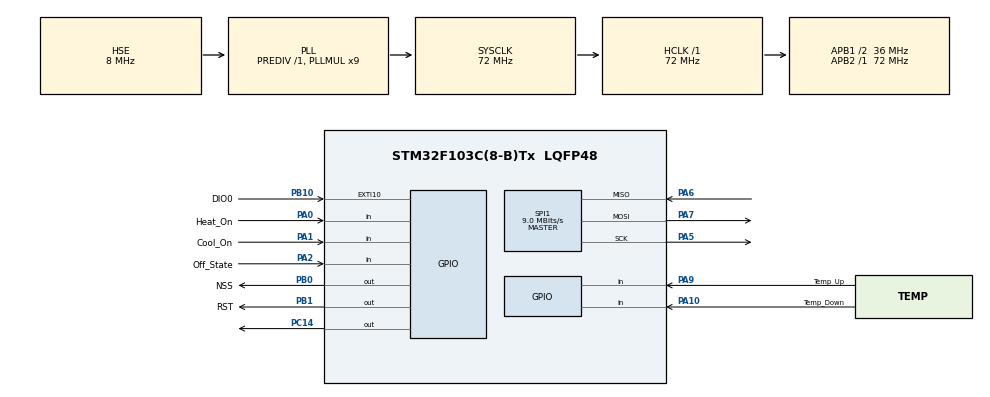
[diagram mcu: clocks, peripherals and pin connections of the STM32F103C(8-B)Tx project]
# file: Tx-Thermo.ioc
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Mcu.Family=STM32F1
Mcu.Name=STM32F103C(8-B)Tx
Mcu.Package=LQFP48
NVIC.EXTI15_10_IRQn=true\:0\:0\:false\:true\:true\:2\:true\:true\:true
NVIC.PriorityGroup=NVIC_PRIORITYGROUP_4
NVIC.SPI1_IRQn=true\:0\:0\:false\:true\:true\:1\:true\:true\:true
PA0-WKUP.GPIO_Label=Heat_On
PA0-WKUP.GPIO_PuPd=GPIO_PULLUP
PA0-WKUP.Signal=GPIO_Input
PA1.GPIO_Label=Cool_On
PA1.GPIO_PuPd=GPIO_PULLUP
PA1.Signal=GPIO_Input
PA10.GPIO_Label=Temp_Down
PA10.GPIO_PuPd=GPIO_PULLUP
PA10.Signal=GPIO_Input
PA13.Mode=Serial_Wire
PA13.Signal=SYS_JTMS-SWDIO
PA14.Mode=Serial_Wire
PA14.Signal=SYS_JTCK-SWCLK
PA2.GPIO_Label=Off_State
PA2.GPIO_PuPd=GPIO_PULLUP
PA2.Signal=GPIO_Input
PA5.Mode=Full_Duplex_Master
PA5.Signal=SPI1_SCK
PA6.Mode=Full_Duplex_Master
PA6.Signal=SPI1_MISO
PA7.Mode=Full_Duplex_Master
PA7.Signal=SPI1_MOSI
PA9.GPIO_Label=Temp_Up
PA9.GPIO_PuPd=GPIO_PULLUP
PA9.Signal=GPIO_Input
PB0.GPIO_Label=NSS
PB0.PinState=GPIO_PIN_SET
PB0.Signal=GPIO_Output
PB1.GPIO_Label=RST
PB1.PinState=GPIO_PIN_SET
PB1.Signal=GPIO_Output
PB10.GPIO_Label=DIO0
PB10.GPIO_PuPd=GPIO_PULLDOWN
PB10.Signal=GPXTI10
PC14-OSC32_IN.Signal=GPIO_Output
PD0-OSC_IN.Mode=HSE-External-Oscillator
PD0-OSC_IN.Signal=RCC_OSC_IN
PD1-OSC_OUT.Mode=HSE-External-Oscillator
PD1-OSC_OUT.Signal=RCC_OSC_OUT
ProjectManager.HeapSize=0x200
ProjectManager.StackSize=0x400
ProjectManager.TargetToolchain=STM32CubeIDE
RCC.AHBFreq_Value=72000000
RCC.APB1CLKDivider=RCC_HCLK_DIV2
RCC.APB1Freq_Value=36000000
RCC.APB1TimFreq_Value=72000000
RCC.APB2Freq_Value=72000000
RCC.APB2TimFreq_Value=72000000
RCC.HCLKFreq_Value=72000000
RCC.PLLMUL=RCC_PLL_MUL9
RCC.PLLSourceVirtual=RCC_PLLSOURCE_HSE
RCC.PWREXT_OverDrive=PWREXT_OverDrive_DESACTIVATED
RCC.PWR_Regulator_Voltage_Scale=PWR_REGULATOR_VOLTAGE_SCALE3
RCC.RCC_MCOSource=RCC_MCO1SOURCE_PLLCLK
RCC.RCC_TIM_PRescaler_Selection=RCC_TIMPRES_DESACTIVATED
RCC.RTCClockSelection=RCC_RTCCLKSOURCE_LSE
RCC.SYSCLKFreq_VALUE=72000000
RCC.SYSCLKSource=RCC_SYSCLKSOURCE_PLLCLK
RCC.USBFreq_Value=48000000
RCC.USBPrescaler=RCC_USBCLKSOURCE_PLL_DIV1_5
SPI1.BaudRatePrescaler=SPI_BAUDRATEPRESCALER_8
SPI1.CalculateBaudRate=9.0 MBits/s
SPI1.Direction=SPI_DIRECTION_2LINES
SPI1.Mode=SPI_MODE_MASTER
SPI1.VirtualType=VM_MASTER
board=custom

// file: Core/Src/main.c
/* USER CODE BEGIN Header */
/**
  ******************************************************************************
  * @file           : main.c
  * @brief          : Main program body
  ******************************************************************************
  * @attention
  *
  * Copyright (c) 2025 STMicroelectronics.
  * All rights reserved.
  *
  * This software is licensed under terms that can be found in the LICENSE file
  * in the root directory of this software component.
  * If no LICENSE file comes with this software, it is provided AS-IS.
  *
  ******************************************************************************
  */
/* USER CODE END Header */
#include "main.h"
#include "spi.h"
#include "gpio.h"

/* USER CODE BEGIN Includes */
/*--------------------TRANSMITTER--------------------*/
#include <string.h>
#include <stdio.h>
#include "stm32f1xx.h"
#include "LoRa.h"
#include <stdlib.h>
#include <LiquidCrystal.h>
#include "Tx-Commands.h"
/* USER CODE END Includes */

/* USER CODE BEGIN PD */
#define UNAVAILABLE -1
#define FREE 0
#define BUSY 1

#define HEAT 0
#define AC 1
#define OFF -1

#define TEMP_PORT GPIOA

#define MAX_BUTTONS 5
/* USER CODE END PD */

/* USER CODE BEGIN PV */
LoRa myLoRa;
uint16_t LoRa_stat = 0;
uint8_t RxBuffer[16];
size_t air_mode = OFF;
uint8_t temperature = 0;
uint8_t temp_setpt = 0;
volatile uint8_t rx_ready = 0;
/* USER CODE END PV */

void SystemClock_Config(void);
static void MX_NVIC_Init(void);

int main(void)
{

  /* MCU Configuration--------------------------------------------------------*/

  /* Reset of all peripherals, Initializes the Flash interface and the Systick. */
  HAL_Init();

  /* Configure the system clock */
  SystemClock_Config();

  /* Initialize all configured peripherals */
  MX_GPIO_Init();
  MX_SPI1_Init();

  /* Initialize interrupts */
  MX_NVIC_Init();
  /* USER CODE BEGIN 2 */

  myLoRa = newLoRa();
  myLoRa.hSPIx = &hspi1;
  myLoRa.CS_port = GPIOB;
  myLoRa.CS_pin = GPIO_PIN_0;
  myLoRa.reset_port = GPIOB;
  myLoRa.reset_pin = GPIO_PIN_1;
  myLoRa.DIO0_port = GPIOB;
  myLoRa.DIO0_pin = GPIO_PIN_10;

  if (LoRa_init(&myLoRa) != LORA_OK) {
	  print("LoRa Failed!");
  }
  LoRa_stat = 1;

  LiquidCrystal(GPIOB, LCD_RS_Pin, 255, LCD_E_Pin,
		  LCD_D7_Pin, LCD_D6_Pin, LCD_D5_Pin, LCD_D4_Pin);
  Buttons button[] = {
		  {FREE, Get_TempUpButtonState, TransmitTEMPUPCommand},
		  {FREE, Get_TempDownButtonState, TransmitTEMPDOWNCommand},
		  {FREE, Get_HeatButtonState, TransmitHEATCommand},
		  {FREE, Get_ACButtonState, TransmitACCommand},
		  {FREE, Get_OffButtonState, TransmitOFFCommand}
  };
  air_mode = OFF;
  char* command;
  LCD_StrInit();
  LoRa_startReceiving(&myLoRa);

  /* USER CODE END 2 */

  /* Infinite loop */
  while (1)
  {

    /* USER CODE BEGIN 3 */
	  size_t i;
	  if (rx_ready) {
		  command = (char*) RxBuffer;
		  rx_ready = 0;
		  if (atoi(command) != 0) {
			  uint16_t tmp = atoi(command);
			  /* We receive 16 bits, upper 8 bits hold temp, lower 8 bits hold setpoint*/
			  temp_setpt = tmp & 0xFF;
			  temperature = (tmp >> 8) & 0xFF;
			  LCD_UpdateSetpt();
			  LCD_UpdateTemp();
		  }
	  }

	  for (i = 0; i < MAX_BUTTONS; i++) {
		  if (button[i].GetPinState() == FREE && button[i].state == FREE) {
			  button[i].state = BUSY;
			  if (button[i].TransmitMessage()) {
				  /* some success message */
			  }
			  else {
				  /* some failure message */
			  }
		  }

		  if (button[i].GetPinState() == BUSY && button[i].state == BUSY) {
			  button[i].state = FREE;
		  }
		  memset(RxBuffer, 0, sizeof(RxBuffer));
		  HAL_Delay(10); /* Debouncing */

	  }
  }
  /* USER CODE END 3 */
}

void SystemClock_Config(void)
{
  RCC_OscInitTypeDef RCC_OscInitStruct = {0};
  RCC_ClkInitTypeDef RCC_ClkInitStruct = {0};

  /** Initializes the RCC Oscillators according to the specified parameters
  * in the RCC_OscInitTypeDef structure.
  */
  RCC_OscInitStruct.OscillatorType = RCC_OSCILLATORTYPE_HSE;
  RCC_OscInitStruct.HSEState = RCC_HSE_ON;
  RCC_OscInitStruct.HSEPredivValue = RCC_HSE_PREDIV_DIV1;
  RCC_OscInitStruct.HSIState = RCC_HSI_ON;
  RCC_OscInitStruct.PLL.PLLState = RCC_PLL_ON;
  RCC_OscInitStruct.PLL.PLLSource = RCC_PLLSOURCE_HSE;
  RCC_OscInitStruct.PLL.PLLMUL = RCC_PLL_MUL9;
  if (HAL_RCC_OscConfig(&RCC_OscInitStruct) != HAL_OK)
  {
    Error_Handler();
  }

  /** Initializes the CPU, AHB and APB buses clocks
  */
  RCC_ClkInitStruct.ClockType = RCC_CLOCKTYPE_HCLK|RCC_CLOCKTYPE_SYSCLK
                              |RCC_CLOCKTYPE_PCLK1|RCC_CLOCKTYPE_PCLK2;
  RCC_ClkInitStruct.SYSCLKSource = RCC_SYSCLKSOURCE_PLLCLK;
  RCC_ClkInitStruct.AHBCLKDivider = RCC_SYSCLK_DIV1;
  RCC_ClkInitStruct.APB1CLKDivider = RCC_HCLK_DIV2;
  RCC_ClkInitStruct.APB2CLKDivider = RCC_HCLK_DIV1;

  if (HAL_RCC_ClockConfig(&RCC_ClkInitStruct, FLASH_LATENCY_2) != HAL_OK)
  {
    Error_Handler();
  }
}

/**
  * @brief NVIC Configuration.
  * @retval None
  */
static void MX_NVIC_Init(void)
{
  /* SPI1_IRQn interrupt configuration */
  HAL_NVIC_SetPriority(SPI1_IRQn, 0, 0);
  HAL_NVIC_EnableIRQ(SPI1_IRQn);
  /* EXTI15_10_IRQn interrupt configuration */
  HAL_NVIC_SetPriority(EXTI15_10_IRQn, 0, 0);
  HAL_NVIC_EnableIRQ(EXTI15_10_IRQn);
}

/* USER CODE BEGIN 4 */

void HAL_GPIO_EXTI_Callback(uint16_t GPIO_Pin)
{
	if (GPIO_Pin == DIO0_Pin) {
		LoRa_receive(&myLoRa, RxBuffer, 16);
		rx_ready = 1;
	}
}

/* USER CODE END 4 */

void Error_Handler(void)
{
  __disable_irq();
  while (1)
  {
  }
}
